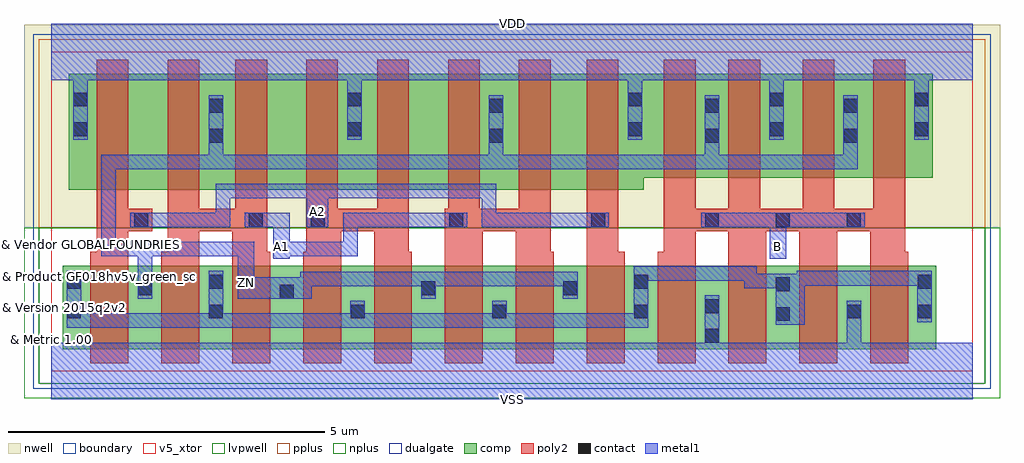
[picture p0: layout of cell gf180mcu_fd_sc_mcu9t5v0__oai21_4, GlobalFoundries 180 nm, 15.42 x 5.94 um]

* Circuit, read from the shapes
.subckt gf180mcu_fd_sc_mcu9t5v0__oai21_4 A1 A2 B VDD VSS ZN
XM1 ZN A2 n1 VSUBS nfet_05v0 w=1.32u l=0.6u m=4
XM2 n1 A1 ZN VSUBS nfet_05v0 w=1.32u l=0.6u m=4
XM3 VSS B n1 VSUBS nfet_05v0 w=1.32u l=0.6u m=4
XM4 n2 A2 VDD n3 pfet_05v0 w=1.83u l=0.5u
XM5 ZN A1 n2 n3 pfet_05v0 w=1.83u l=0.5u
XM6 n4 A1 ZN n3 pfet_05v0 w=1.83u l=0.5u
XM7 VDD A2 n4 n3 pfet_05v0 w=1.83u l=0.5u
XM8 n5 A2 VDD n3 pfet_05v0 w=1.83u l=0.5u
XM9 ZN A1 n5 n3 pfet_05v0 w=1.83u l=0.5u
XM10 n6 A1 ZN n3 pfet_05v0 w=1.83u l=0.5u
XM11 VDD A2 n6 n3 pfet_05v0 w=1.83u l=0.5u
XM12 ZN B VDD n3 pfet_05v0 w=1.645u l=0.5u m=4
.ends

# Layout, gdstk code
import gdstk
lib = gdstk.Library(unit=1e-6, precision=1e-09)
def R(c, l, rs):  # rectangles x0, y0, x1, y1
    for r in rs: c.add(gdstk.rectangle(r[:2], r[2:], *l))
def A(c, l, x, y, w, h, nx, ny, dx, dy):  # array of equal rectangles
    R(c, l, [(x+i*dx, y+j*dy, x+i*dx+w, y+j*dy+h) for i in range(nx) for j in range(ny)])
def P(c, l, *ps):  # polygons
    for p in ps: c.add(gdstk.Polygon(p, *l))
boundary = (0, 0)
nwell = (21, 0)
comp = (22, 0)
poly2 = (30, 0)
pplus = (31, 0)
nplus = (32, 0)
contact = (33, 0)
metal1 = (34, 0)
dualgate = (55, 0)
v5_xtor = (112, 1)
lvpwell = (204, 0)

gf180mcu_fd_sc_mcu9t5v0_ = lib.new_cell('gf180mcu_fd_sc_mcu9t5v0__oai21_4')
R(gf180mcu_fd_sc_mcu9t5v0_, boundary, [(0,0,14.56,5.04)])
R(gf180mcu_fd_sc_mcu9t5v0_, nwell, [(-0.43,2.265,14.99,5.47)])
R(gf180mcu_fd_sc_mcu9t5v0_, comp, [(0.18,0.345,13.98,1.665)])
P(gf180mcu_fd_sc_mcu9t5v0_, comp, [(0.28,2.865),(0.28,4.695),(13.93,4.695),(13.93,3.05),(9.36,3.05),(9.36,2.865)])
P(gf180mcu_fd_sc_mcu9t5v0_, poly2, [(0.62,0.125),(0.62,1.885),(0.72,1.885),(0.72,4.915),(1.22,4.915),(1.22,2.565),(1.6,2.565),(1.6,2.205),(1.22,2.205),(1.22,0.125)],
  [(1.74,0.125),(1.74,1.885),(1.84,1.885),(1.84,4.915),(2.34,4.915),(2.34,2.565),(2.91,2.565),(2.91,4.915),(3.41,4.915),(3.41,1.885),(3.46,1.885),(3.46,0.125),(2.86,0.125),(2.86,2.205),(2.34,2.205),(2.34,0.125)],
  [(3.98,0.125),(3.98,1.885),(4.03,1.885),(4.03,4.915),(4.53,4.915),(4.53,2.565),(5.15,2.565),(5.15,4.915),(5.65,4.915),(5.65,1.885),(5.7,1.885),(5.7,0.125),(5.1,0.125),(5.1,2.205),(4.58,2.205),(4.58,0.125)],
  [(6.22,0.125),(6.22,2.565),(6.27,2.565),(6.27,4.915),(6.77,4.915),(6.77,2.565),(7.39,2.565),(7.39,4.915),(7.89,4.915),(7.89,1.885),(7.94,1.885),(7.94,0.125),(7.34,0.125),(7.34,2.205),(6.82,2.205),(6.82,0.125)],
  [(8.46,0.125),(8.46,4.915),(8.96,4.915),(8.96,1.885),(9.06,1.885),(9.06,0.125)],
  [(9.58,0.125),(9.58,1.885),(9.68,1.885),(9.68,4.915),(10.18,4.915),(10.18,2.565),(10.7,2.565),(10.7,4.915),(11.2,4.915),(11.2,2.565),(11.87,2.565),(11.87,4.915),(12.37,4.915),(12.37,2.565),(12.99,2.565),(12.99,4.915),(13.49,4.915),(13.49,1.885),(13.54,1.885),(13.54,0.125),(12.94,0.125),(12.94,2.205),(12.42,2.205),(12.42,0.125),(11.82,0.125),(11.82,2.205),(11.3,2.205),(11.3,0.125),(10.7,0.125),(10.7,2.205),(10.18,2.205),(10.18,0.125)])
R(gf180mcu_fd_sc_mcu9t5v0_, pplus, [(-0.2,2.265,14.76,5.24)])
R(gf180mcu_fd_sc_mcu9t5v0_, nplus, [(-0.2,-0.2,14.76,2.265)])
A(gf180mcu_fd_sc_mcu9t5v0_, contact, 0.25, 0.83, 0.22, 0.22, 5, 1, 2.24, 0)
A(gf180mcu_fd_sc_mcu9t5v0_, contact, 10.33, 2.275, 0.22, 0.22, 3, 1, 1.12, 0)
R(gf180mcu_fd_sc_mcu9t5v0_, contact, [(10.33,0.445,10.55,0.665), (11.45,0.79,11.67,1.01), (12.57,0.83,12.79,1.05), (13.69,0.83,13.91,1.05), (10.33,0.915,10.55,1.135), (3.61,1.145,3.83,1.365), (1.37,1.2,1.59,1.42), (5.85,1.2,6.07,1.42), (8.09,1.2,8.31,1.42), (11.45,1.26,11.67,1.48), (0.25,1.3,0.47,1.52), (2.49,1.3,2.71,1.52), (9.21,1.3,9.43,1.52), (13.69,1.3,13.91,1.52), (1.31,2.275,1.53,2.495), (3.12,2.275,3.34,2.495), (4.1,2.275,4.32,2.495), (6.29,2.275,6.51,2.495), (8.53,2.275,8.75,2.495), (2.49,3.61,2.71,3.83), (6.92,3.61,7.14,3.83), (10.33,3.61,10.55,3.83), (12.52,3.61,12.74,3.83), (0.35,3.71,0.57,3.93), (4.68,3.71,4.9,3.93), (9.11,3.71,9.33,3.93), (11.35,3.71,11.57,3.93), (13.64,3.71,13.86,3.93), (2.49,4.08,2.71,4.3), (6.92,4.08,7.14,4.3), (10.33,4.08,10.55,4.3), (12.52,4.08,12.74,4.3), (0.35,4.18,0.57,4.4), (4.68,4.18,4.9,4.4), (9.11,4.18,9.33,4.4), (11.35,4.18,11.57,4.4), (13.64,4.18,13.86,4.4)])
P(gf180mcu_fd_sc_mcu9t5v0_, metal1, [(3.51,1.77),(3.51,2.27),(3.06,2.27),(3.06,2.5),(3.77,2.5),(3.77,2.04),(4.61,2.04),(4.61,2.5),(6.57,2.5),(6.57,2.27),(4.84,2.27),(4.84,1.81),(3.77,1.81),(3.77,1.77)],
  [(1.25,2.27),(1.25,2.5),(2.6,2.5),(2.6,2.96),(7.03,2.96),(7.03,2.5),(8.81,2.5),(8.81,2.27),(6.8,2.27),(6.8,2.73),(4.38,2.73),(4.38,2.27),(4.04,2.27),(4.04,2.73),(2.83,2.73),(2.83,2.27)],
  [(1.365,1.14),(1.365,1.81),(0.79,1.81),(0.79,3.42),(2.485,3.42),(2.485,4.36),(2.715,4.36),(2.715,3.42),(6.915,3.42),(6.915,4.36),(7.145,4.36),(7.145,3.42),(10.325,3.42),(10.325,4.36),(10.555,4.36),(10.555,3.42),(12.515,3.42),(12.515,4.36),(12.745,4.36),(12.745,3.19),(1.02,3.19),(1.02,2.04),(3.21,2.04),(3.21,1.48),(3.935,1.48),(3.935,1.57),(8.315,1.57),(8.315,1.14),(8.085,1.14),(8.085,1.34),(6.075,1.34),(6.075,1.14),(5.845,1.14),(5.845,1.34),(4.12,1.34),(4.12,1.14),(2.95,1.14),(2.95,1.81),(1.595,1.81),(1.595,1.14)],
  [(11.35,1.77),(11.35,2.27),(10.27,2.27),(10.27,2.5),(12.85,2.5),(12.85,2.27),(11.61,2.27),(11.61,1.77)],
  [(0.245,0.68),(0.245,1.58),(0.475,1.58),(0.475,0.91),(2.485,0.91),(2.485,1.58),(2.715,1.58),(2.715,0.91),(4.725,0.91),(4.725,1.11),(4.955,1.11),(4.955,0.91),(6.965,0.91),(6.965,1.11),(7.195,1.11),(7.195,0.91),(9.205,0.91),(9.205,1.655),(11.15,1.655),(11.15,1.54),(11.775,1.54),(11.775,1.58),(13.915,1.58),(13.915,0.77),(13.685,0.77),(13.685,1.35),(11.905,1.35),(11.905,0.73),(11.445,0.73),(11.445,1.31),(10.95,1.31),(10.95,1.425),(9.435,1.425),(9.435,0.68)],
  [(0,-0.45),(0,0.45),(10.325,0.45),(10.325,1.195),(10.555,1.195),(10.555,0.45),(12.565,0.45),(12.565,1.11),(12.795,1.11),(12.795,0.45),(14.56,0.45),(14.56,-0.45)],
  [(0.345,3.65),(0.345,4.59),(0,4.59),(0,5.49),(14.56,5.49),(14.56,4.59),(13.865,4.59),(13.865,3.65),(13.635,3.65),(13.635,4.59),(11.575,4.59),(11.575,3.65),(11.345,3.65),(11.345,4.59),(9.335,4.59),(9.335,3.65),(9.105,3.65),(9.105,4.59),(4.905,4.59),(4.905,3.65),(4.675,3.65),(4.675,4.59),(0.575,4.59),(0.575,3.65)])
R(gf180mcu_fd_sc_mcu9t5v0_, dualgate, [(-0.28,-0.28,14.84,5.32)])
R(gf180mcu_fd_sc_mcu9t5v0_, v5_xtor, [(0,0,14.56,5.04)])
R(gf180mcu_fd_sc_mcu9t5v0_, lvpwell, [(-0.43,-0.43,14.99,2.265)])
gf180mcu_fd_sc_mcu9t5v0_.add(gdstk.Label('A1', (3.64,1.96), layer=34, texttype=10))
gf180mcu_fd_sc_mcu9t5v0_.add(gdstk.Label('A2', (4.2,2.52), layer=34, texttype=10))
gf180mcu_fd_sc_mcu9t5v0_.add(gdstk.Label('B', (11.48,1.96), layer=34, texttype=10))
gf180mcu_fd_sc_mcu9t5v0_.add(gdstk.Label('VDD', (7.28,5.49), layer=34, texttype=10))
gf180mcu_fd_sc_mcu9t5v0_.add(gdstk.Label('VSS', (7.28,-0.45), layer=34, texttype=10))
gf180mcu_fd_sc_mcu9t5v0_.add(gdstk.Label('ZN', (3.08,1.4), layer=34, texttype=10))
gf180mcu_fd_sc_mcu9t5v0_.add(gdstk.Label('& Vendor GLOBALFOUNDRIES', (0,2), layer=63, texttype=63))
gf180mcu_fd_sc_mcu9t5v0_.add(gdstk.Label('& Product GF018hv5v_green_sc9', (0,1.5), layer=63, texttype=63))
gf180mcu_fd_sc_mcu9t5v0_.add(gdstk.Label('& Version 2015q2v2', (0,1), layer=63, texttype=63))
gf180mcu_fd_sc_mcu9t5v0_.add(gdstk.Label('& Metric 1.00', (0,0.5), layer=63, texttype=63))

lib.write_gds('gf180mcu_fd_sc_mcu9t5v0__oai21_4.gds')
